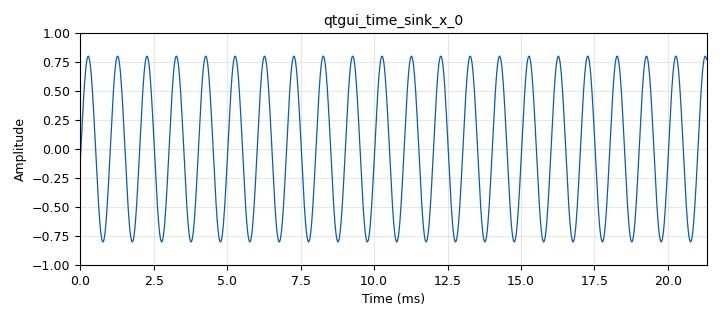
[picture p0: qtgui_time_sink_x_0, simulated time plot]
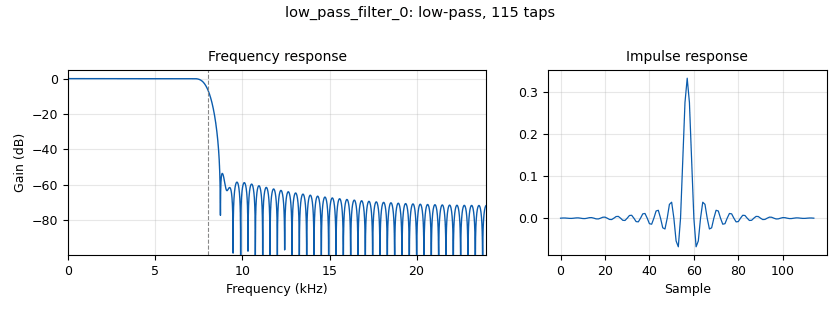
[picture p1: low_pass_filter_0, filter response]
options:
  parameters:
    catch_exceptions: 'False'
    generate_options: qt_gui
    id: PF_2019
    output_language: python
    realtime_scheduling: '1'
    title: Sampling de un tono
  states: {}

blocks:
- name: Frecuencia
  id: variable_qtgui_range
  parameters:
    gui_hint: 0,4,1,2
    label: 'Frecuencia [Hz]: '
    start: '100'
    step: '100'
    stop: '8000'
    value: '1000'
  states: {}
- name: samp_rate
  id: variable
  parameters:
    value: '48000'
  states: {}
- name: samp_rate_qtgui_label
  id: variable_qtgui_label
  parameters:
    gui_hint: 0,0,1,2
    label: 'Sample rate [m/Sg.]: '
    type: int
    value: samp_rate
  states: {}
- name: valor
  id: variable_qtgui_range
  parameters:
    gui_hint: 0,2,1,2
    label: 'Amplitud: '
    start: '0'
    step: '0.1'
    stop: '2'
    value: '0.8'
  states: {}
- name: analog_sig_source_x_0
  id: analog_sig_source_x
  parameters:
    amp: valor
    freq: Frecuencia
    offset: '0'
    phase: '0'
    samp_rate: samp_rate
    type: float
    waveform: analog.GR_SIN_WAVE
  states: {}
- name: low_pass_filter_0
  id: low_pass_filter
  parameters:
    cutoff_freq: '8000'
    decim: '1'
    gain: '1'
    samp_rate: samp_rate
    type: fir_filter_fff
    width: '1000'
    win: window.WIN_HAMMING
  states: {}
- name: qtgui_time_sink_x_0
  id: qtgui_time_sink_x
  parameters:
    ctrlpanel: 'True'
    gui_hint: 1,0,6,7
    size: '1024'
    srate: samp_rate
    tr_mode: qtgui.TRIG_MODE_AUTO
    type: float
  states: {}
- name: serializer_serializer_0
  id: serializer_serializer
  parameters:
    board: 'True'
    device: /dev/ttyUSB1
    mode: data
    samp_rate: samp_rate
  states: {}

connections:
- [analog_sig_source_x_0, '0', low_pass_filter_0, '0']
- [low_pass_filter_0, '0', qtgui_time_sink_x_0, '0']
- [low_pass_filter_0, '0', serializer_serializer_0, '0']

metadata:
  file_format: 1
